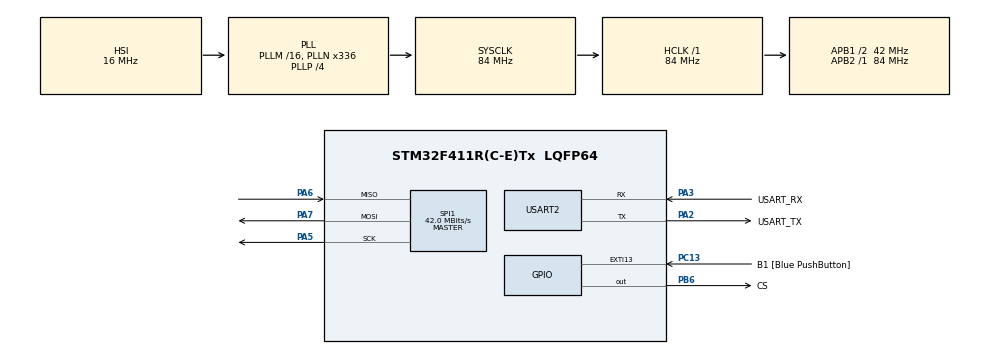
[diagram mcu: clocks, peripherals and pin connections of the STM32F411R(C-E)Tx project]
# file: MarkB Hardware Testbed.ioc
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Mcu.Family=STM32F4
Mcu.Name=STM32F411R(C-E)Tx
Mcu.Package=LQFP64
NVIC.PriorityGroup=NVIC_PRIORITYGROUP_0
PA13.GPIO_Label=TMS
PA13.Signal=SYS_JTMS-SWDIO
PA14.GPIO_Label=TCK
PA14.Signal=SYS_JTCK-SWCLK
PA2.GPIO_Label=USART_TX
PA2.Mode=Asynchronous
PA2.Signal=USART2_TX
PA3.GPIO_Label=USART_RX
PA3.Mode=Asynchronous
PA3.Signal=USART2_RX
PA5.Mode=Full_Duplex_Master
PA5.Signal=SPI1_SCK
PA6.Mode=Full_Duplex_Master
PA6.Signal=SPI1_MISO
PA7.Mode=Full_Duplex_Master
PA7.Signal=SPI1_MOSI
PB3.GPIO_Label=SWO
PB3.Signal=SYS_JTDO-SWO
PB6.GPIO_Label=CS
PB6.Signal=GPIO_Output
PC13-ANTI_TAMP.GPIO_Label=B1 [Blue PushButton]
PC13-ANTI_TAMP.GPIO_ModeDefaultEXTI=GPIO_MODE_IT_FALLING
PC13-ANTI_TAMP.Signal=GPXTI13
PC14-OSC32_IN.Signal=RCC_OSC32_IN
PC15-OSC32_OUT.Signal=RCC_OSC32_OUT
PH0\ -\ OSC_IN.Signal=RCC_OSC_IN
PH1\ -\ OSC_OUT.Signal=RCC_OSC_OUT
ProjectManager.HeapSize=0x200
ProjectManager.StackSize=0x400
ProjectManager.TargetToolchain=STM32CubeIDE
RCC.48MHZClocksFreq_Value=84000000
RCC.AHBFreq_Value=84000000
RCC.APB1CLKDivider=RCC_HCLK_DIV2
RCC.APB1Freq_Value=42000000
RCC.APB1TimFreq_Value=84000000
RCC.APB2Freq_Value=84000000
RCC.APB2TimFreq_Value=84000000
RCC.CortexFreq_Value=84000000
RCC.FLatency-AdvancedSettings=FLASH_LATENCY_2
RCC.HCLKFreq_Value=84000000
RCC.HSE_VALUE=8000000
RCC.HSI_VALUE=16000000
RCC.LSE_VALUE=32768
RCC.PLLN=336
RCC.PLLP=RCC_PLLP_DIV4
RCC.SYSCLKFreq_VALUE=84000000
RCC.SYSCLKSource=RCC_SYSCLKSOURCE_PLLCLK
RCC.VCOOutputFreq_Value=336000000
SPI1.CalculateBaudRate=42.0 MBits/s
SPI1.Direction=SPI_DIRECTION_2LINES
SPI1.Mode=SPI_MODE_MASTER
SPI1.VirtualType=VM_MASTER
USART2.VirtualMode=VM_ASYNC
board=NUCLEO-F411RE

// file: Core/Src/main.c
/* USER CODE BEGIN Header */
/**
  ******************************************************************************
  * @file           : main.c
  * @brief          : Main program body
  ******************************************************************************
  * @attention
  *
  * <h2><center>&copy; Copyright (c) 2021 STMicroelectronics.
  * All rights reserved.</center></h2>
  *
  * This software component is licensed by ST under BSD 3-Clause license,
  * the "License"; You may not use this file except in compliance with the
  * License. You may obtain a copy of the License at:
  *                        opensource.org/licenses/BSD-3-Clause
  *
  ******************************************************************************
  */
/* USER CODE END Header */
#include "main.h"

/* USER CODE BEGIN Includes */
#include "Nucleo_Profiles.h"
#include "MS5607.h"
/* USER CODE END Includes */

SPI_HandleTypeDef hspi1;

UART_HandleTypeDef huart2;

void SystemClock_Config(void);
static void MX_GPIO_Init(void);
static void MX_USART2_UART_Init(void);
static void MX_SPI1_Init(void);

int main(void)
{

  /* MCU Configuration--------------------------------------------------------*/

  /* Reset of all peripherals, Initializes the Flash interface and the Systick. */
  HAL_Init();

  /* Configure the system clock */
  SystemClock_Config();

  /* Initialize all configured peripherals */
  MX_GPIO_Init();
  MX_USART2_UART_Init();
  MX_SPI1_Init();
  /* USER CODE BEGIN 2 */
  NucleoF4_Init();
  /* USER CODE END 2 */

  /* Infinite loop */
  /* USER CODE BEGIN WHILE */
  volatile genericSensor_t bmp;
  bmp = MS5607_init(&hspi1, CS_GPIO_Port, CS_Pin);
  int32_t temp = 0;
  int32_t pres = 0;
  printf("%d\n\r", bmp.sensor.MS5607.senst1);
  printf("%d\n\r", bmp.sensor.MS5607.offt1);
  printf("%d\n\r", bmp.sensor.MS5607.tcs);
  printf("%d\n\r", bmp.sensor.MS5607.tco);
  printf("%d\n\r", bmp.sensor.MS5607.tref);
	printf("%d\n\r", bmp.sensor.MS5607.tempsens);
	printf("%d\n\r", bmp.sensor.MS5607.digitalPres);
	printf("%d\n\r", bmp.sensor.MS5607.digitalTemp);
  while (1)
  {
    /* USER CODE END WHILE */

    /* USER CODE BEGIN 3 */
	  bmp.read(&bmp);
	  temp = bmp.sensor.MS5607.temp;
	  pres = bmp.sensor.MS5607.pressure;
	  printf("\n\rTemp: %d, Pres: %d", temp, pres);
	  HAL_Delay(500);
  }
  /* USER CODE END 3 */
}

void SystemClock_Config(void)
{
  RCC_OscInitTypeDef RCC_OscInitStruct = {0};
  RCC_ClkInitTypeDef RCC_ClkInitStruct = {0};

  /** Configure the main internal regulator output voltage
  */
  __HAL_RCC_PWR_CLK_ENABLE();
  __HAL_PWR_VOLTAGESCALING_CONFIG(PWR_REGULATOR_VOLTAGE_SCALE1);
  /** Initializes the RCC Oscillators according to the specified parameters
  * in the RCC_OscInitTypeDef structure.
  */
  RCC_OscInitStruct.OscillatorType = RCC_OSCILLATORTYPE_HSI;
  RCC_OscInitStruct.HSIState = RCC_HSI_ON;
  RCC_OscInitStruct.HSICalibrationValue = RCC_HSICALIBRATION_DEFAULT;
  RCC_OscInitStruct.PLL.PLLState = RCC_PLL_ON;
  RCC_OscInitStruct.PLL.PLLSource = RCC_PLLSOURCE_HSI;
  RCC_OscInitStruct.PLL.PLLM = 16;
  RCC_OscInitStruct.PLL.PLLN = 336;
  RCC_OscInitStruct.PLL.PLLP = RCC_PLLP_DIV4;
  RCC_OscInitStruct.PLL.PLLQ = 4;
  if (HAL_RCC_OscConfig(&RCC_OscInitStruct) != HAL_OK)
  {
    Error_Handler();
  }
  /** Initializes the CPU, AHB and APB buses clocks
  */
  RCC_ClkInitStruct.ClockType = RCC_CLOCKTYPE_HCLK|RCC_CLOCKTYPE_SYSCLK
                              |RCC_CLOCKTYPE_PCLK1|RCC_CLOCKTYPE_PCLK2;
  RCC_ClkInitStruct.SYSCLKSource = RCC_SYSCLKSOURCE_PLLCLK;
  RCC_ClkInitStruct.AHBCLKDivider = RCC_SYSCLK_DIV1;
  RCC_ClkInitStruct.APB1CLKDivider = RCC_HCLK_DIV2;
  RCC_ClkInitStruct.APB2CLKDivider = RCC_HCLK_DIV1;

  if (HAL_RCC_ClockConfig(&RCC_ClkInitStruct, FLASH_LATENCY_2) != HAL_OK)
  {
    Error_Handler();
  }
}

static void MX_SPI1_Init(void)
{

  /* SPI1 parameter configuration*/
  hspi1.Instance = SPI1;
  hspi1.Init.Mode = SPI_MODE_MASTER;
  hspi1.Init.Direction = SPI_DIRECTION_2LINES;
  hspi1.Init.DataSize = SPI_DATASIZE_8BIT;
  hspi1.Init.CLKPolarity = SPI_POLARITY_LOW;
  hspi1.Init.CLKPhase = SPI_PHASE_1EDGE;
  hspi1.Init.NSS = SPI_NSS_SOFT;
  hspi1.Init.BaudRatePrescaler = SPI_BAUDRATEPRESCALER_2;
  hspi1.Init.FirstBit = SPI_FIRSTBIT_MSB;
  hspi1.Init.TIMode = SPI_TIMODE_DISABLE;
  hspi1.Init.CRCCalculation = SPI_CRCCALCULATION_DISABLE;
  hspi1.Init.CRCPolynomial = 10;
  if (HAL_SPI_Init(&hspi1) != HAL_OK)
  {
    Error_Handler();
  }

}

static void MX_USART2_UART_Init(void)
{

  huart2.Instance = USART2;
  huart2.Init.BaudRate = 115200;
  huart2.Init.WordLength = UART_WORDLENGTH_8B;
  huart2.Init.StopBits = UART_STOPBITS_1;
  huart2.Init.Parity = UART_PARITY_NONE;
  huart2.Init.Mode = UART_MODE_TX_RX;
  huart2.Init.HwFlowCtl = UART_HWCONTROL_NONE;
  huart2.Init.OverSampling = UART_OVERSAMPLING_16;
  if (HAL_UART_Init(&huart2) != HAL_OK)
  {
    Error_Handler();
  }

}

static void MX_GPIO_Init(void)
{
  GPIO_InitTypeDef GPIO_InitStruct = {0};

  /* GPIO Ports Clock Enable */
  __HAL_RCC_GPIOC_CLK_ENABLE();
  __HAL_RCC_GPIOH_CLK_ENABLE();
  __HAL_RCC_GPIOA_CLK_ENABLE();
  __HAL_RCC_GPIOB_CLK_ENABLE();

  /*Configure GPIO pin Output Level */
  HAL_GPIO_WritePin(CS_GPIO_Port, CS_Pin, GPIO_PIN_RESET);

  /*Configure GPIO pin : B1_Pin */
  GPIO_InitStruct.Pin = B1_Pin;
  GPIO_InitStruct.Mode = GPIO_MODE_IT_FALLING;
  GPIO_InitStruct.Pull = GPIO_NOPULL;
  HAL_GPIO_Init(B1_GPIO_Port, &GPIO_InitStruct);

  /*Configure GPIO pin : CS_Pin */
  GPIO_InitStruct.Pin = CS_Pin;
  GPIO_InitStruct.Mode = GPIO_MODE_OUTPUT_PP;
  GPIO_InitStruct.Pull = GPIO_NOPULL;
  GPIO_InitStruct.Speed = GPIO_SPEED_FREQ_LOW;
  HAL_GPIO_Init(CS_GPIO_Port, &GPIO_InitStruct);

}

void Error_Handler(void)
{
  __disable_irq();
  while (1)
  {
  }
}

/************************ (C) COPYRIGHT STMicroelectronics *****END OF FILE****/
